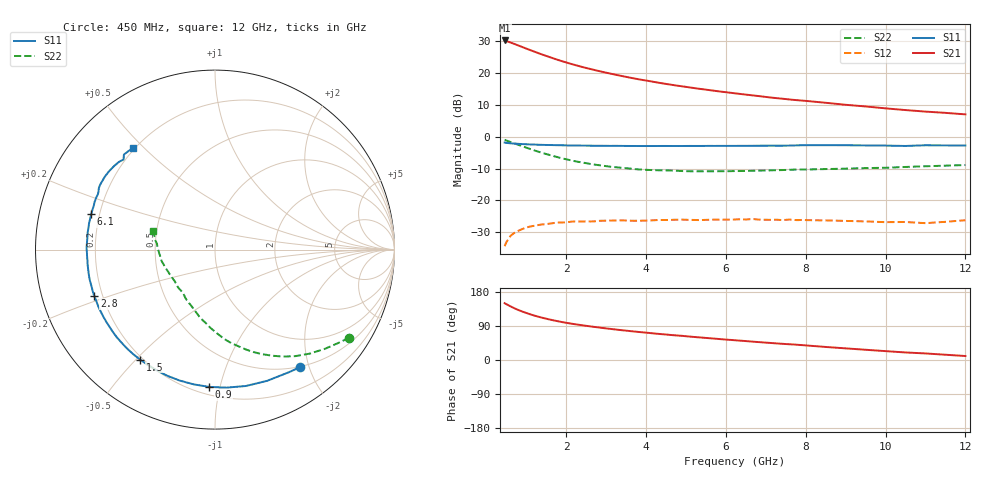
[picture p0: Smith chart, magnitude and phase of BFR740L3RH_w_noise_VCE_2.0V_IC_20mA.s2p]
! (c) 2012  Infineon Technologies AG, Munich
! Infineon Technologies  Discrete & RF Semiconductors
! BFR740L3RH
! VCE =  2.0 V,  IC =  20 mA
! Common Emitter S-Parameters:  May 2012
# GHz  S  MA  R  50
!  f  S11  S21  S12  S22
! GHz  MAG  ANG  MAG  ANG  MAG  ANG  MAG  ANG
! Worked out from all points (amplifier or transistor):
!   85 points, 450 MHz to 12 GHz, reference 50 ohm
!   highest |S21| = 30.3 dB at 450 MHz (marker M1)
!   |S21| within 3 dB of that: start of sweep to 1.086 GHz
!   unconditionally stable (mu >= 1): 6.748 GHz to end of sweep
!   at 1.8 GHz: K = 0.26, MSG = 25.5 dB, |S12| = -27.0 dB
!   at 4.6 GHz: K = 0.69, MSG = 21.3 dB, |S12| = -26.2 dB
!   at 12 GHz: K = 2.01, MAG = 10.9 dB, |S12| = -26.3 dB
!   lowest NFmin = 0.90 dB at 450 MHz
!   S11 on the Smith chart (normalised r, x): 450 MHz: 0.49, -1.86; 900 MHz: 0.25, -0.93; 1.5 GHz: 0.19, -0.51; 2.8 GHz: 0.17, -0.18; 6.1 GHz: 0.17, +0.14; 12 GHz: 0.19, +0.47
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0.45  0.8084 -54.0  32.62 149.9  0.019 66.3  0.8938 -33.3
0.6  0.7867 -68.3  30.24 141.4  0.0277 55.2  0.8241 -42.2
0.7  0.7792 -77.2  28.67 136.3  0.0309 52.4  0.7828 -47.8
0.8  0.7718 -85.2  27.1 131.7  0.0333 48.7  0.7432 -53.0
0.9  0.7656 -92.4  25.61 127.6  0.0355 45.0  0.7058 -57.6
1.1  0.7557 -105.1  22.92 120.3  0.0388 39.0  0.6377 -65.9
1.2  0.7516 -110.6  21.71 117.1  0.0398 36.4  0.6078 -69.7
1.4  0.744 -120.2  19.52 111.3  0.0418 33.0  0.5548 -76.3
1.5  0.7414 -124.2  18.56 108.8  0.0423 31.7  0.5322 -79.6
1.7  0.7374 -131.8  16.82 104.1  0.0441 29.4  0.4916 -85.2
1.9  0.7332 -138.5  15.33 99.9  0.0448 26.7  0.4554 -90.3
2.2  0.7271 -146.5  13.49 94.6  0.0465 24.1  0.4132 -97.0
2.4  0.7246 -151.1  12.46 91.6  0.0464 22.3  0.3927 -101.4
2.8  0.7205 -159.0  10.82 86.0  0.0475 20.5  0.3575 -108.5
3.6  0.715 -171.6  8.469 76.3  0.0478 17.5  0.315 -121.7
4.3  0.7143 -179.4  7.081 69.0  0.049 16.7  0.2964 -130.4
5.2  0.7155 171.4  5.821 60.8  0.0491 16.1  0.2853 -141.9
6.1  0.7172 164.0  4.917 53.1  0.0497 14.8  0.2872 -151.7
6.3  0.7178 162.4  4.747 51.5  0.0503 13.2  0.2883 -153.7
8.5  0.7363 146.5  3.414 34.4  0.0483 12.0  0.3099 -175.0
10.5  0.7151 135.4  2.623 19.9  0.0456 16.9  0.3344 171.7
12  0.7274 128.7  2.245 10.5  0.0486 27.2  0.3583 163.5
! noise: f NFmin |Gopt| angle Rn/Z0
0.45  0.9  0.05  14  0.11
0.9  0.9  0.05  39  0.11
1.5  0.91  0.07  66  0.1
1.9  0.92  0.09  79  0.11
2.4  0.94  0.11  89  0.11
3.5  1  0.14  106  0.1
5.5  1.13  0.2  130  0.1
8  1.32  0.27  162  0.09
10  1.5  0.31  -166  0.09
12  1.67  0.34  -144  0.12
